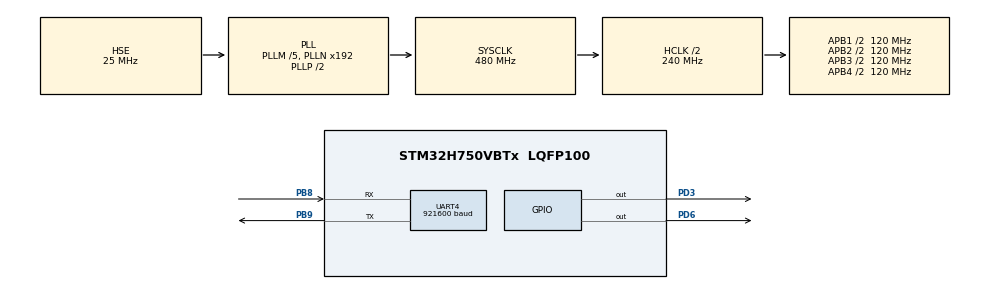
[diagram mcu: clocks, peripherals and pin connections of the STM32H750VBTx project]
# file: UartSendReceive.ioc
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Mcu.Family=STM32H7
Mcu.Name=STM32H750VBTx
Mcu.Package=LQFP100
NVIC.PriorityGroup=NVIC_PRIORITYGROUP_4
NVIC.UART4_IRQn=true\:4\:0\:true\:false\:true\:true\:true
PB14.Signal=S_TIM12_CH1
PB15.Signal=S_TIM12_CH2
PB8.Mode=Asynchronous
PB8.Signal=UART4_RX
PB9.Mode=Asynchronous
PB9.Signal=UART4_TX
PD3.Signal=GPIO_Output
PD6.Signal=GPIO_Output
PH0-OSC_IN\ (PH0).Mode=HSE-External-Oscillator
PH0-OSC_IN\ (PH0).Signal=RCC_OSC_IN
PH1-OSC_OUT\ (PH1).Mode=HSE-External-Oscillator
PH1-OSC_OUT\ (PH1).Signal=RCC_OSC_OUT
ProjectManager.HeapSize=0x1000
ProjectManager.StackSize=0x1000
ProjectManager.TargetToolchain=MDK-ARM V5
RCC.ADCFreq_Value=50390625
RCC.APB1Freq_Value=120000000
RCC.APB2Freq_Value=120000000
RCC.APB3Freq_Value=120000000
RCC.APB4Freq_Value=120000000
RCC.CortexFreq_Value=480000000
RCC.D1PPRE=RCC_APB3_DIV2
RCC.D2PPRE1=RCC_APB1_DIV2
RCC.D2PPRE2=RCC_APB2_DIV2
RCC.D3PPRE=RCC_APB4_DIV2
RCC.DIVM1=5
RCC.DIVN1=192
RCC.HCLKFreq_Value=240000000
RCC.HPRE=RCC_HCLK_DIV2
RCC.PLL2FRACN=0
RCC.PLL3FRACN=0
RCC.PLLFRACN=0
RCC.PLLSourceVirtual=RCC_PLLSOURCE_HSE
RCC.SYSCLKFreq_VALUE=480000000
RCC.SYSCLKSource=RCC_SYSCLKSOURCE_PLLCLK
RCC.USBFreq_Value=480000000
SH.S_TIM12_CH1.0=TIM12_CH1
SH.S_TIM12_CH2.0=TIM12_CH2
UART4.BaudRate=921600
board=custom

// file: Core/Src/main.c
/* USER CODE BEGIN Header */
/**
  ******************************************************************************
  * @file           : main.c
  * @brief          : Main program body
  ******************************************************************************
  * @attention
  *
  * <h2><center>&copy; Copyright (c) 2021 STMicroelectronics.
  * All rights reserved.</center></h2>
  *
  * This software component is licensed by ST under BSD 3-Clause license,
  * the "License"; You may not use this file except in compliance with the
  * License. You may obtain a copy of the License at:
  *                        opensource.org/licenses/BSD-3-Clause
  *
  ******************************************************************************
  */
/* USER CODE END Header */
#include "main.h"
#include "usart.h"
#include "gpio.h"
#include <stdio.h>

/* USER CODE BEGIN Includes */
#include "DELAY/delay.h"
#include "debug/debug.h"

//uint8_t uartSendTitle[] = "\r\n======UART Send Receive Test=====\r\n";
/* USER CODE END Includes */

void SystemClock_Config(void);

/* USER CODE BEGIN 0 */

void HMISends(void)
{
	uint8_t sflag[]={0xFF,0xFF,0xFF};
			HAL_UART_Transmit(&huart4,sflag,sizeof(sflag),100);
			while(__HAL_UART_GET_FLAG(&huart4,UART_FLAG_TC)==RESET){};
}

void HMISendStr(uint8_t * buf)
{
  uint8_t i =0;
  while(1){
  if(buf[i]!=0){
    HAL_UART_Transmit(&huart4,&buf[i],sizeof(buf[i]),1000);
    while(__HAL_UART_GET_FLAG(&huart4,UART_FLAG_TC)==RESET){};
    i++;
  }
  else
	 return ;
  }
}
/* USER CODE END 0 */

int main(void)
{

  /* MCU Configuration--------------------------------------------------------*/

  /* Reset of all peripherals, Initializes the Flash interface and the Systick. */
  HAL_Init();

  /* Configure the system clock */
  SystemClock_Config();

  /* Initialize all configured peripherals */
  MX_GPIO_Init();
  MX_UART4_Init();
  /* USER CODE BEGIN 2 */
	delay_init(480);

	float Freq = 10.0;
//	delay_ms(100);

//开起串口4接收中断
//	__HAL_UART_ENABLE_IT(&huart4, UART_IT_RXNE);
//
//	HAL_UART_Transmit(&huart4,uartSendTitle,sizeof(uartSendTitle),1000);	//发送抬头
//	while(__HAL_UART_GET_FLAG(&huart4,UART_FLAG_TC)!=SET);		//等待发送结束

  /* USER CODE END 2 */

  /* Infinite loop */
  /* USER CODE BEGIN WHILE */
  while (1)
  {
		HMISends();
		uint8_t uartstr[100];
		sprintf((char*)uartstr,"main.t2.txt=\"%6.4f Hz\"",Freq);
		HMISendStr(uartstr);
    Freq+=10.3f;
    HMISends();
    delay_ms(1000);

//		if(USART_RX_STA&0x8000)
//		{
//			uart_rx_len=USART_RX_STA&0x3fff;//得到此次接收到的数据长度
//			printf("\r\nsend data:\r\n");
//			HAL_UART_Transmit_IT(&huart3,(uint8_t*)USART_RX_BUF,len);	//发送接收到的数据
//			HAL_UART_Transmit(&huart4,(uint8_t*)USART_RX_BUF,uart_rx_len,1000);	//发送接收到的数据
//			while(__HAL_UART_GET_FLAG(&huart4,UART_FLAG_TC)!=SET);		//等待发送结束
//			USART_RX_STA=0;
//		}
    /* USER CODE END WHILE */

  }
}

void SystemClock_Config(void)
{
  RCC_OscInitTypeDef RCC_OscInitStruct = {0};
  RCC_ClkInitTypeDef RCC_ClkInitStruct = {0};

  /** Supply configuration update enable
  */
  HAL_PWREx_ConfigSupply(PWR_LDO_SUPPLY);
  /** Configure the main internal regulator output voltage
  */
  __HAL_PWR_VOLTAGESCALING_CONFIG(PWR_REGULATOR_VOLTAGE_SCALE0);

  while(!__HAL_PWR_GET_FLAG(PWR_FLAG_VOSRDY)) {}
  /** Initializes the RCC Oscillators according to the specified parameters
  * in the RCC_OscInitTypeDef structure.
  */
  RCC_OscInitStruct.OscillatorType = RCC_OSCILLATORTYPE_HSE;
  RCC_OscInitStruct.HSEState = RCC_HSE_ON;
  RCC_OscInitStruct.PLL.PLLState = RCC_PLL_ON;
  RCC_OscInitStruct.PLL.PLLSource = RCC_PLLSOURCE_HSE;
  RCC_OscInitStruct.PLL.PLLM = 5;
  RCC_OscInitStruct.PLL.PLLN = 192;
  RCC_OscInitStruct.PLL.PLLP = 2;
  RCC_OscInitStruct.PLL.PLLQ = 2;
  RCC_OscInitStruct.PLL.PLLR = 2;
  RCC_OscInitStruct.PLL.PLLRGE = RCC_PLL1VCIRANGE_2;
  RCC_OscInitStruct.PLL.PLLVCOSEL = RCC_PLL1VCOWIDE;
  RCC_OscInitStruct.PLL.PLLFRACN = 0;
  if (HAL_RCC_OscConfig(&RCC_OscInitStruct) != HAL_OK)
  {
    Error_Handler();
  }
  /** Initializes the CPU, AHB and APB buses clocks
  */
  RCC_ClkInitStruct.ClockType = RCC_CLOCKTYPE_HCLK|RCC_CLOCKTYPE_SYSCLK
                              |RCC_CLOCKTYPE_PCLK1|RCC_CLOCKTYPE_PCLK2
                              |RCC_CLOCKTYPE_D3PCLK1|RCC_CLOCKTYPE_D1PCLK1;
  RCC_ClkInitStruct.SYSCLKSource = RCC_SYSCLKSOURCE_PLLCLK;
  RCC_ClkInitStruct.SYSCLKDivider = RCC_SYSCLK_DIV1;
  RCC_ClkInitStruct.AHBCLKDivider = RCC_HCLK_DIV2;
  RCC_ClkInitStruct.APB3CLKDivider = RCC_APB3_DIV2;
  RCC_ClkInitStruct.APB1CLKDivider = RCC_APB1_DIV2;
  RCC_ClkInitStruct.APB2CLKDivider = RCC_APB2_DIV2;
  RCC_ClkInitStruct.APB4CLKDivider = RCC_APB4_DIV2;

  if (HAL_RCC_ClockConfig(&RCC_ClkInitStruct, FLASH_LATENCY_4) != HAL_OK)
  {
    Error_Handler();
  }
}

void Error_Handler(void)
{
  __disable_irq();
  while (1)
  {
  }
}

/************************ (C) COPYRIGHT STMicroelectronics *****END OF FILE****/
